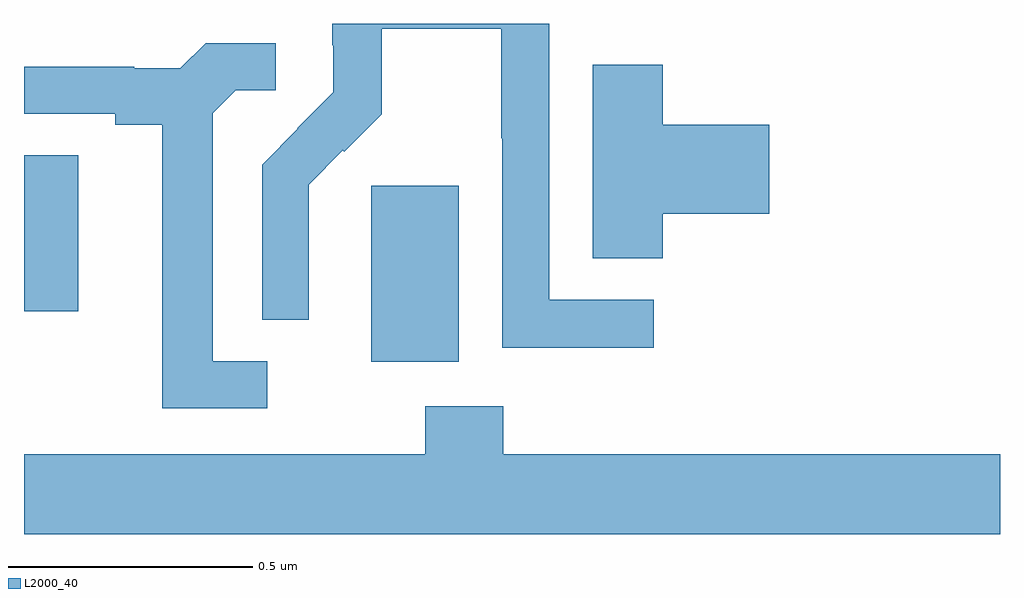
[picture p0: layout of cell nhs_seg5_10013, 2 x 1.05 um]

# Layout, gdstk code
import gdstk
lib = gdstk.Library(unit=1e-6, precision=1e-09)
def R(c, l, rs):  # rectangles x0, y0, x1, y1
    for r in rs: c.add(gdstk.rectangle(r[:2], r[2:], *l))
def P(c, l, *ps):  # polygons
    for p in ps: c.add(gdstk.Polygon(p, *l))
L2000_40 = (2000, 40)

nhs_seg5_10013 = lib.new_cell('nhs_seg5_10013')
R(nhs_seg5_10013, L2000_40, [(241.712,865.106,241.891,865.467), (241,865.209,241.111,865.529)])
P(nhs_seg5_10013, L2000_40, [(242.29,865.233),(242.076,865.233),(242.076,865.799),(241.632,865.799),(241.632,865.755),(241.634,865.755),(241.634,865.658),(241.56,865.584),(241.561,865.583),(241.488,865.51),(241.488,865.192),(241.584,865.192),(241.584,865.346),(241.583,865.346),(241.583,865.469),(241.653,865.539),(241.656,865.536),(241.733,865.613),(241.733,865.788),(241.978,865.788),(241.978,865.564),(241.98,865.564),(241.98,865.135),(242.29,865.135)],
  [(241.498,865.107),(241.387,865.107),(241.387,865.615),(241.434,865.662),(241.516,865.662),(241.516,865.759),(241.372,865.759),(241.32,865.707),(241.226,865.707),(241.226,865.71),(241,865.71),(241,865.614),(241.187,865.614),(241.187,865.592),(241.283,865.592),(241.283,865.011),(241.498,865.011)],
  [(242.309,865.409),(242.527,865.409),(242.527,865.592),(242.309,865.592),(242.309,865.715),(242.165,865.715),(242.165,865.318),(242.309,865.318)],
  [(243,864.916),(241.982,864.916),(241.982,865.015),(241.822,865.015),(241.822,864.916),(241,864.916),(241,864.752),(243,864.752)])

lib.write_gds('nhs_seg5_10013.gds')
